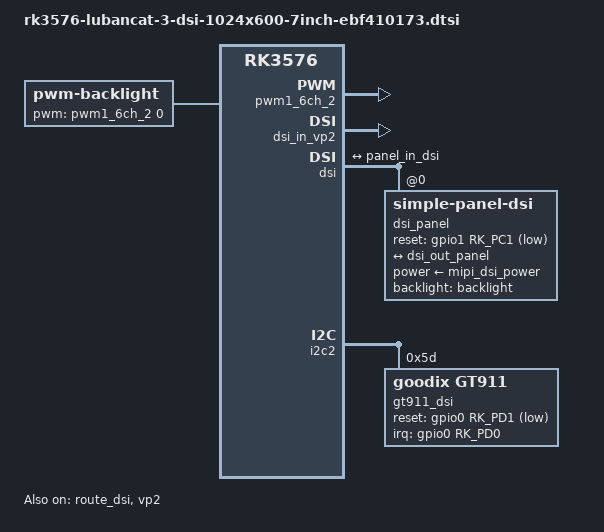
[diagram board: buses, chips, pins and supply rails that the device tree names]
// SPDX-License-Identifier: (GPL-2.0+ OR MIT)
/*
* Copyright (c) 2024 Rockchip Electronics Co., Ltd.
* Copyright (c) 2024 EmbedFire <embedfire@embedfire.com>
*/

#include <dt-bindings/gpio/gpio.h>
#include <dt-bindings/pwm/pwm.h>
#include <dt-bindings/pinctrl/rockchip.h>
#include <dt-bindings/display/drm_mipi_dsi.h>
#include <dt-bindings/display/rockchip_vop.h>
#include <dt-bindings/sensor-dev.h>

/ {
	backlight: backlight {
		compatible = "pwm-backlight";
		pwms = <&pwm1_6ch_2 0 25000 0>;
		brightness-levels = <
			  0  20  20  21  21  22  22  23
			 23  24  24  25  25  26  26  27
			 27  28  28  29  29  30  30  31
			 31  32  32  33  33  34  34  35
			 35  36  36  37  37  38  38  39
			 40  41  42  43  44  45  46  47
			 48  49  50  51  52  53  54  55
			 56  57  58  59  60  61  62  63
			 64  65  66  67  68  69  70  71
			 72  73  74  75  76  77  78  79
			 80  81  82  83  84  85  86  87
			 88  89  90  91  92  93  94  95
			 96  97  98  99 100 101 102 103
			104 105 106 107 108 109 110 111
			112 113 114 115 116 117 118 119
			120 121 122 123 124 125 126 127
			128 129 130 131 132 133 134 135
			136 137 138 139 140 141 142 143
			144 145 146 147 148 149 150 151
			152 153 154 155 156 157 158 159
			160 161 162 163 164 165 166 167
			168 169 170 171 172 173 174 175
			176 177 178 179 180 181 182 183
			184 185 186 187 188 189 190 191
			192 193 194 195 196 197 198 199
			200 201 202 203 204 205 206 207
			208 209 210 211 212 213 214 215
			216 217 218 219 220 221 222 223
			224 225 226 227 228 229 230 231
			232 233 234 235 236 237 238 239
			240 241 242 243 244 245 246 247
			248 249 250 251 252 253 254 255
		>;
		default-brightness-level = <200>;
	};
};

&pwm1_6ch_2 {
	status = "okay";
	pinctrl-0 = <&pwm1m1_ch2>;
};

&route_dsi {
	status = "okay";
	connect = <&vp2_out_dsi>;
};

&dsi_in_vp0 {
	status = "disabled";
};

&dsi_in_vp1 {
	status = "disabled";
};

&dsi_in_vp2 {
	status = "okay";
};

&dsi_in_vopl {
	status = "disabled";
};

&vp2 {
	status = "okay";
	assigned-clocks = <&cru DCLK_VP2_SRC>;
	assigned-clock-parents = <&cru PLL_VPLL>;
};

&dsi {
	status = "okay";
	//rockchip,lane-rate = <1000>;
	dsi_panel: panel@0 {
		status = "okay";
		compatible = "simple-panel-dsi";
		reg = <0>;
		backlight = <&backlight>;
        power-supply = <&mipi_dsi_power>;
		reset-gpios = <&gpio1 RK_PC1 GPIO_ACTIVE_LOW>;

		enable-delay-ms = <35>;
		prepare-delay-ms = <6>;
		reset-delay-ms = <0>;
		init-delay-ms = <20>;
		unprepare-delay-ms = <0>;
		disable-delay-ms = <20>;

		width-mm = <74>;
		height-mm = <133>;

		dsi,flags = <(MIPI_DSI_MODE_VIDEO | MIPI_DSI_MODE_VIDEO_BURST |
			      MIPI_DSI_MODE_LPM | MIPI_DSI_MODE_NO_EOT_PACKET)>;
		dsi,format = <MIPI_DSI_FMT_RGB888>;
		dsi,lanes  = <4>;

		panel-init-sequence = [
			15 00 02 80 AC
			15 00 02 81 B8
			15 00 02 82 09
			15 00 02 83 78
			15 00 02 84 7F
			15 00 02 85 BB
			15 00 02 86 70
			05 C8 01 11
			05 C8 01 29
		];

		panel-exit-sequence = [
			05 78 01 28
			05 00 01 10
		];

		disp_timings0: display-timings {
			native-mode = <&dsi_timing0>;
			dsi_timing0: timing0 {
				clock-frequency = <51668640>;
				hactive = <1024>;
				vactive = <600>;
				hsync-len = <10>;
				hback-porch = <160>;
				hfront-porch = <160>;
				vsync-len = <1>;
				vback-porch = <23>;
				vfront-porch = <12>;
				hsync-active = <0>;
				vsync-active = <0>;
				de-active = <0>;
				pixelclk-active = <0>;
			};
		};

		ports {
			#address-cells = <1>;
			#size-cells = <0>;

			port@0 {
				reg = <0>;
				panel_in_dsi: endpoint {
					remote-endpoint = <&dsi_out_panel>;
				};
			};
		};
	};

	ports {
		#address-cells = <1>;
		#size-cells = <0>;

		port@1 {
			reg = <1>;
			dsi_out_panel: endpoint {
				remote-endpoint = <&panel_in_dsi>;
			};
		};
	};
};

&i2c2 {
    pinctrl-names = "default";
	pinctrl-0 = <&i2c2m0_xfer>;
	status = "okay";

	gt911_dsi: gt911@5d {
		status = "okay";
		compatible = "goodix,gt911";
		reg = <0x5d>;
		interrupt-parent = <&gpio0>;
		interrupts = <RK_PD0 IRQ_TYPE_LEVEL_LOW>;
		reset-gpios = <&gpio0 RK_PD1 GPIO_ACTIVE_LOW>;
		irq-gpios = <&gpio0 RK_PD0 GPIO_ACTIVE_HIGH>;
		touchscreen-inverted-x = <1>;
		touchscreen-inverted-y = <1>;
	};
};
